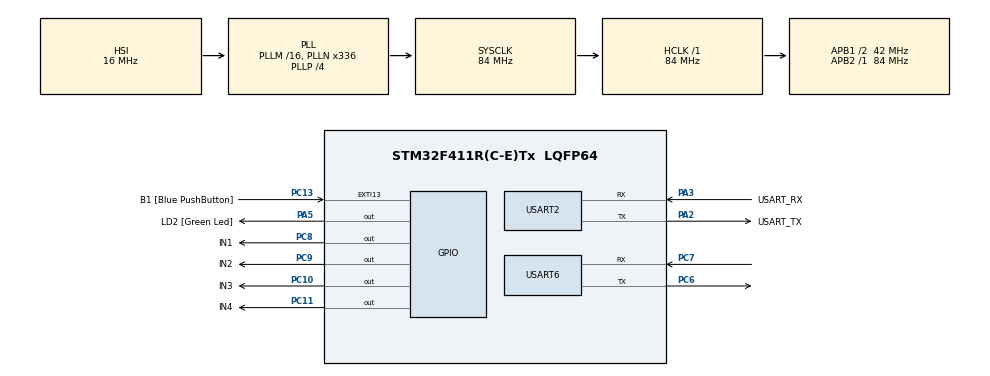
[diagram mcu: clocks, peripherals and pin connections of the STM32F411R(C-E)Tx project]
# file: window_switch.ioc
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Mcu.Family=STM32F4
Mcu.Name=STM32F411R(C-E)Tx
Mcu.Package=LQFP64
NVIC.PriorityGroup=NVIC_PRIORITYGROUP_0
NVIC.USART2_IRQn=true\:0\:0\:false\:false\:true\:true\:true\:true
NVIC.USART6_IRQn=true\:0\:0\:false\:false\:true\:true\:true\:true
PA13.GPIO_Label=TMS
PA13.Mode=Serial_Wire
PA13.Signal=SYS_JTMS-SWDIO
PA14.GPIO_Label=TCK
PA14.Mode=Serial_Wire
PA14.Signal=SYS_JTCK-SWCLK
PA2.GPIO_Label=USART_TX
PA2.Mode=Asynchronous
PA2.Signal=USART2_TX
PA3.GPIO_Label=USART_RX
PA3.Mode=Asynchronous
PA3.Signal=USART2_RX
PA5.GPIO_Label=LD2 [Green Led]
PA5.Signal=GPIO_Output
PB3.GPIO_Label=SWO
PB3.Signal=SYS_JTDO-SWO
PC10.GPIO_Label=IN3
PC10.Signal=GPIO_Output
PC11.GPIO_Label=IN4
PC11.Signal=GPIO_Output
PC13-ANTI_TAMP.GPIO_Label=B1 [Blue PushButton]
PC13-ANTI_TAMP.GPIO_ModeDefaultEXTI=GPIO_MODE_IT_FALLING
PC13-ANTI_TAMP.Signal=GPXTI13
PC14-OSC32_IN.Mode=LSE-External-Oscillator
PC14-OSC32_IN.Signal=RCC_OSC32_IN
PC15-OSC32_OUT.Mode=LSE-External-Oscillator
PC15-OSC32_OUT.Signal=RCC_OSC32_OUT
PC6.Mode=Asynchronous
PC6.Signal=USART6_TX
PC7.Mode=Asynchronous
PC7.Signal=USART6_RX
PC8.GPIO_Label=IN1
PC8.Signal=GPIO_Output
PC9.GPIO_Label=IN2
PC9.Signal=GPIO_Output
PH0\ -\ OSC_IN.Mode=HSE-External-Clock-Source
PH0\ -\ OSC_IN.Signal=RCC_OSC_IN
PH1\ -\ OSC_OUT.Mode=HSE-External-Clock-Source
PH1\ -\ OSC_OUT.Signal=RCC_OSC_OUT
ProjectManager.HeapSize=0x200
ProjectManager.StackSize=0x400
ProjectManager.TargetToolchain=STM32CubeIDE
RCC.48MHZClocksFreq_Value=84000000
RCC.AHBFreq_Value=84000000
RCC.APB1CLKDivider=RCC_HCLK_DIV2
RCC.APB1Freq_Value=42000000
RCC.APB1TimFreq_Value=84000000
RCC.APB2Freq_Value=84000000
RCC.APB2TimFreq_Value=84000000
RCC.CortexFreq_Value=84000000
RCC.FLatency-AdvancedSettings=FLASH_LATENCY_2
RCC.HCLKFreq_Value=84000000
RCC.HSE_VALUE=8000000
RCC.HSI_VALUE=16000000
RCC.PLLN=336
RCC.PLLP=RCC_PLLP_DIV4
RCC.SYSCLKFreq_VALUE=84000000
RCC.SYSCLKSource=RCC_SYSCLKSOURCE_PLLCLK
RCC.VCOOutputFreq_Value=336000000
TIM1.Period=0xffff
TIM1.Prescaler=180-1
USART2.VirtualMode=VM_ASYNC
USART6.VirtualMode=VM_ASYNC
VP_TIM1_VS_ClockSourceINT.Mode=Internal
board=NUCLEO-F411RE

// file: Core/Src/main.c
/* USART2 usb to serial debug      PA2  USART6 TX , PA3 USART6 RX */
/* USART6 bluetooth & wifi Seiral  PB10 USART2_TX , PB11 USART2 TX */

/* USER CODE BEGIN Header */
/**
  ******************************************************************************
  * @file           : main.c
  * @brief          : Main program body
  ******************************************************************************
  * @attention
  *
  * Copyright (c) 2024 STMicroelectronics.
  * All rights reserved.
  *
  * This software is licensed under terms that can be found in the LICENSE file
  * in the root directory of this software component.
  * If no LICENSE file comes with this software, it is provided AS-IS.
  *
  ******************************************************************************
  */
/* USER CODE END Header */
#include "main.h"

/* USER CODE BEGIN Includes */
#include <stdio.h>
#include <string.h>
/* USER CODE END Includes */

/* USER CODE BEGIN PD */
#ifdef __GNUC__
/* With GCC, small printf (option LD Linker->Libraries->Small printf
   set to 'Yes') calls __io_putchar() */
#define PUTCHAR_PROTOTYPE int __io_putchar(int ch)
#else
#define PUTCHAR_PROTOTYPE int fputc(int ch, FILE *f)
#endif /* __GNUC__ */
#define ARR_CNT 5
#define CMD_SIZE 50
/* USER CODE END PD */

TIM_HandleTypeDef htim1;
UART_HandleTypeDef huart2;
UART_HandleTypeDef huart6;

/* USER CODE BEGIN PV */
uint8_t rx2char;
volatile unsigned char rx2Flag = 0;
volatile char rx2Data[50];
volatile unsigned char btFlag = 0;
uint8_t btchar;
char btData[50];
void bluetooth_Event();
/* USER CODE END PV */

void SystemClock_Config(void);
static void MX_GPIO_Init(void);
static void MX_USART2_UART_Init(void);
static void MX_USART6_UART_Init(void);
static void MX_TIM1_Init(void);

/* USER CODE BEGIN 0 */

void delay (uint16_t us)
{
	__HAL_TIM_SET_COUNTER(&htim1, 0);
	while (__HAL_TIM_GET_COUNTER(&htim1) < us);
}

#define stepsperrev 4096

void stepper_set_rpm (int rpm)  // Set rpm--> max 13, min 1,,,  went to 14 rev/min
{
	delay(60000000/stepsperrev/rpm);
}

void stepper_full_drive(int step)
{
	switch (step){
		case 0:
			HAL_GPIO_WritePin(GPIOC, IN1_Pin, GPIO_PIN_SET);   // IN1
			HAL_GPIO_WritePin(GPIOC, IN2_Pin, GPIO_PIN_SET);   // IN2
			HAL_GPIO_WritePin(GPIOC, IN3_Pin, GPIO_PIN_RESET);   // IN3
			HAL_GPIO_WritePin(GPIOC, IN4_Pin, GPIO_PIN_RESET);   // IN4
			break;

		case 1:
			HAL_GPIO_WritePin(GPIOC, IN1_Pin, GPIO_PIN_RESET);   // IN1
			HAL_GPIO_WritePin(GPIOC, IN2_Pin, GPIO_PIN_SET);   // IN2
			HAL_GPIO_WritePin(GPIOC, IN3_Pin, GPIO_PIN_SET);   // IN3
			HAL_GPIO_WritePin(GPIOC, IN4_Pin, GPIO_PIN_RESET);   // IN4
			break;

		case 2:
			HAL_GPIO_WritePin(GPIOC, IN1_Pin, GPIO_PIN_RESET);   // IN1
			HAL_GPIO_WritePin(GPIOC, IN2_Pin, GPIO_PIN_RESET);   // IN2
			HAL_GPIO_WritePin(GPIOC, IN3_Pin, GPIO_PIN_SET);   // IN3
			HAL_GPIO_WritePin(GPIOC, IN4_Pin, GPIO_PIN_SET);   // IN4
			break;

		case 3:
			HAL_GPIO_WritePin(GPIOC, IN1_Pin, GPIO_PIN_SET);   // IN1
			HAL_GPIO_WritePin(GPIOC, IN2_Pin, GPIO_PIN_RESET);   // IN2
			HAL_GPIO_WritePin(GPIOC, IN3_Pin, GPIO_PIN_RESET);   // IN3
			HAL_GPIO_WritePin(GPIOC, IN4_Pin, GPIO_PIN_SET);   // IN4
			break;
	}
}

void stepper_step_angle (float angle, int direction, int rpm)
{
	float anglepersequence = 0.703125;  // 360 = 512 sequences
	int numberofsequences = (int) (angle/anglepersequence);

	for (int seq=0; seq<numberofsequences; seq++)
	{
		if (direction == 0)  // for clockwise
		{
			for (int step=7; step>=0; step--)
			{
				stepper_full_drive(step);
				stepper_set_rpm(rpm);
			}
		}
		else if (direction == 1)  // for anti-clockwise
		{
			for (int step=0; step<8; step++)
			{
				stepper_full_drive(step);
				stepper_set_rpm(rpm);
			}
		}
	}
}

/* USER CODE END 0 */

int main(void)
{

  /* MCU Configuration--------------------------------------------------------*/

  /* Reset of all peripherals, Initializes the Flash interface and the Systick. */
  HAL_Init();

  /* Configure the system clock */
  SystemClock_Config();

  /* Initialize all configured peripherals */
  MX_GPIO_Init();
  MX_USART2_UART_Init();
  MX_USART6_UART_Init();
  MX_TIM1_Init();
  /* USER CODE BEGIN 2 */
  HAL_UART_Receive_IT(&huart2, &rx2char,1);
  HAL_UART_Receive_IT(&huart6, &btchar,1);
  printf("start main2()\r\n");
  HAL_TIM_Base_Start(&htim1);
  /* USER CODE END 2 */

  /* Infinite loop */
  while (1)
  {
	  if(rx2Flag)
	  {
			printf("recv2 : %s\r\n",rx2Data);
			rx2Flag =0;
	//	    HAL_UART_Transmit(&huart6, (uint8_t *)buf, strlen(buf), 0xFFFF);
	  }
	  if(btFlag)
	  {
//		printf("bt : %s\r\n",btData);
			btFlag =0;
			bluetooth_Event();
	  }
//	  HAL_GPIO_TogglePin(GPIOC, GPIO_PIN_13);
//	  HAL_Delay(500);

  }
}

void SystemClock_Config(void)
{
  RCC_OscInitTypeDef RCC_OscInitStruct = {0};
  RCC_ClkInitTypeDef RCC_ClkInitStruct = {0};

  /** Configure the main internal regulator output voltage
  */
  __HAL_RCC_PWR_CLK_ENABLE();
  __HAL_PWR_VOLTAGESCALING_CONFIG(PWR_REGULATOR_VOLTAGE_SCALE1);

  /** Initializes the RCC Oscillators according to the specified parameters
  * in the RCC_OscInitTypeDef structure.
  */
  RCC_OscInitStruct.OscillatorType = RCC_OSCILLATORTYPE_HSI;
  RCC_OscInitStruct.HSIState = RCC_HSI_ON;
  RCC_OscInitStruct.HSICalibrationValue = RCC_HSICALIBRATION_DEFAULT;
  RCC_OscInitStruct.PLL.PLLState = RCC_PLL_ON;
  RCC_OscInitStruct.PLL.PLLSource = RCC_PLLSOURCE_HSI;
  RCC_OscInitStruct.PLL.PLLM = 16;
  RCC_OscInitStruct.PLL.PLLN = 336;
  RCC_OscInitStruct.PLL.PLLP = RCC_PLLP_DIV4;
  RCC_OscInitStruct.PLL.PLLQ = 4;
  if (HAL_RCC_OscConfig(&RCC_OscInitStruct) != HAL_OK)
  {
    Error_Handler();
  }

  /** Initializes the CPU, AHB and APB buses clocks
  */
  RCC_ClkInitStruct.ClockType = RCC_CLOCKTYPE_HCLK|RCC_CLOCKTYPE_SYSCLK
                              |RCC_CLOCKTYPE_PCLK1|RCC_CLOCKTYPE_PCLK2;
  RCC_ClkInitStruct.SYSCLKSource = RCC_SYSCLKSOURCE_PLLCLK;
  RCC_ClkInitStruct.AHBCLKDivider = RCC_SYSCLK_DIV1;
  RCC_ClkInitStruct.APB1CLKDivider = RCC_HCLK_DIV2;
  RCC_ClkInitStruct.APB2CLKDivider = RCC_HCLK_DIV1;

  if (HAL_RCC_ClockConfig(&RCC_ClkInitStruct, FLASH_LATENCY_2) != HAL_OK)
  {
    Error_Handler();
  }
}

static void MX_TIM1_Init(void)
{

  TIM_ClockConfigTypeDef sClockSourceConfig = {0};
  TIM_MasterConfigTypeDef sMasterConfig = {0};

  htim1.Instance = TIM1;
  htim1.Init.Prescaler = 180-1;
  htim1.Init.CounterMode = TIM_COUNTERMODE_UP;
  htim1.Init.Period = 0xffff;
  htim1.Init.ClockDivision = TIM_CLOCKDIVISION_DIV1;
  htim1.Init.RepetitionCounter = 0;
  htim1.Init.AutoReloadPreload = TIM_AUTORELOAD_PRELOAD_DISABLE;
  if (HAL_TIM_Base_Init(&htim1) != HAL_OK)
  {
    Error_Handler();
  }
  sClockSourceConfig.ClockSource = TIM_CLOCKSOURCE_INTERNAL;
  if (HAL_TIM_ConfigClockSource(&htim1, &sClockSourceConfig) != HAL_OK)
  {
    Error_Handler();
  }
  sMasterConfig.MasterOutputTrigger = TIM_TRGO_RESET;
  sMasterConfig.MasterSlaveMode = TIM_MASTERSLAVEMODE_DISABLE;
  if (HAL_TIMEx_MasterConfigSynchronization(&htim1, &sMasterConfig) != HAL_OK)
  {
    Error_Handler();
  }

}

static void MX_USART2_UART_Init(void)
{

  huart2.Instance = USART2;
  huart2.Init.BaudRate = 115200;
  huart2.Init.WordLength = UART_WORDLENGTH_8B;
  huart2.Init.StopBits = UART_STOPBITS_1;
  huart2.Init.Parity = UART_PARITY_NONE;
  huart2.Init.Mode = UART_MODE_TX_RX;
  huart2.Init.HwFlowCtl = UART_HWCONTROL_NONE;
  huart2.Init.OverSampling = UART_OVERSAMPLING_16;
  if (HAL_UART_Init(&huart2) != HAL_OK)
  {
    Error_Handler();
  }

}

static void MX_USART6_UART_Init(void)
{

  huart6.Instance = USART6;
  huart6.Init.BaudRate = 9600;
  huart6.Init.WordLength = UART_WORDLENGTH_8B;
  huart6.Init.StopBits = UART_STOPBITS_1;
  huart6.Init.Parity = UART_PARITY_NONE;
  huart6.Init.Mode = UART_MODE_TX_RX;
  huart6.Init.HwFlowCtl = UART_HWCONTROL_NONE;
  huart6.Init.OverSampling = UART_OVERSAMPLING_16;
  if (HAL_UART_Init(&huart6) != HAL_OK)
  {
    Error_Handler();
  }

}

static void MX_GPIO_Init(void)
{
  GPIO_InitTypeDef GPIO_InitStruct = {0};

  /* GPIO Ports Clock Enable */
  __HAL_RCC_GPIOC_CLK_ENABLE();
  __HAL_RCC_GPIOH_CLK_ENABLE();
  __HAL_RCC_GPIOA_CLK_ENABLE();
  __HAL_RCC_GPIOB_CLK_ENABLE();

  /*Configure GPIO pin Output Level */
  HAL_GPIO_WritePin(LD2_GPIO_Port, LD2_Pin, GPIO_PIN_RESET);

  /*Configure GPIO pin Output Level */
  HAL_GPIO_WritePin(GPIOC, IN1_Pin|IN2_Pin|IN3_Pin|IN4_Pin, GPIO_PIN_RESET);

  /*Configure GPIO pin : B1_Pin */
  GPIO_InitStruct.Pin = B1_Pin;
  GPIO_InitStruct.Mode = GPIO_MODE_IT_FALLING;
  GPIO_InitStruct.Pull = GPIO_NOPULL;
  HAL_GPIO_Init(B1_GPIO_Port, &GPIO_InitStruct);

  /*Configure GPIO pin : LD2_Pin */
  GPIO_InitStruct.Pin = LD2_Pin;
  GPIO_InitStruct.Mode = GPIO_MODE_OUTPUT_PP;
  GPIO_InitStruct.Pull = GPIO_NOPULL;
  GPIO_InitStruct.Speed = GPIO_SPEED_FREQ_LOW;
  HAL_GPIO_Init(LD2_GPIO_Port, &GPIO_InitStruct);

  /*Configure GPIO pins : IN1_Pin IN2_Pin IN3_Pin IN4_Pin */
  GPIO_InitStruct.Pin = IN1_Pin|IN2_Pin|IN3_Pin|IN4_Pin;
  GPIO_InitStruct.Mode = GPIO_MODE_OUTPUT_PP;
  GPIO_InitStruct.Pull = GPIO_NOPULL;
  GPIO_InitStruct.Speed = GPIO_SPEED_FREQ_LOW;
  HAL_GPIO_Init(GPIOC, &GPIO_InitStruct);

}

/* USER CODE BEGIN 4 */
void MX_GPIO_LED_ON(int pin)
{
	HAL_GPIO_WritePin(LD2_GPIO_Port, pin, GPIO_PIN_SET);
}

void MX_GPIO_LED_OFF(int pin)
{
	HAL_GPIO_WritePin(LD2_GPIO_Port, pin, GPIO_PIN_RESET);
}

void MX_GPIO_MOTOR_OPEN()
{
	for(int i = 0; i < 512; i++)
	{
		for(int i = 3; 0 <= i; i--)
		{
			stepper_full_drive(i);
			stepper_set_rpm(13);
		}
	}
}

void MX_GPIO_MOTOR_CLOSE()
{
	for(int i = 0; i < 512; i++)
	{
		for(int i = 0; i < 4; i++)
		{
			stepper_full_drive(i);
			stepper_set_rpm(13);
		}
	}
}

void bluetooth_Event()
{
  int i=0;
  char * pToken;
  char * pArray[ARR_CNT]={0};
  char recvBuf[CMD_SIZE]={0};
  char sendBuf[CMD_SIZE]={0};
  strcpy(recvBuf,btData);

  printf("btData : %s\r\n",btData);

  pToken = strtok(recvBuf,"[@]");
  while(pToken != NULL)
  {
    pArray[i] =  pToken;
    if(++i >= ARR_CNT)
      break;
    pToken = strtok(NULL,"[@]");
  }
//  printf("pArray[0] : %s\r\n",pArray[0]);
//  printf("pArray[1] : %s\r\n",pArray[1]);
//  printf("pArray[2] : %s\r\n",pArray[2]);

  if(!strcmp(pArray[1],"LED"))
  {
		if(!strcmp(pArray[2],"ON"))
		{
			MX_GPIO_LED_ON(LD2_Pin);
		}
		else if(!strcmp(pArray[2],"OFF"))
		{
			MX_GPIO_LED_OFF(LD2_Pin);
		}
  }
  else if(!strcmp(pArray[1],"MOTOR"))
  {
	  if(!strcmp(pArray[2],"OPEN"))
	  {
		  MX_GPIO_MOTOR_OPEN();
	  }
	  else if(!strcmp(pArray[2],"CLOSE"))
	  {
		  MX_GPIO_MOTOR_CLOSE();
	  }
  }
  else if(!strncmp(pArray[1]," New conn",sizeof(" New conn")))
  {
      return;
  }
  else if(!strncmp(pArray[1]," Already log",sizeof(" Already log")))
  {
      return;
  }
  else
      return;

  sprintf(sendBuf,"[%s]%s@%s\n",pArray[0],pArray[1],pArray[2]);
  HAL_UART_Transmit(&huart6, (uint8_t *)sendBuf, strlen(sendBuf), 0xFFFF);

}
/**
  * @brief  Retargets the C library printf function to the USART.
  * @param  None
  * @retval None
  */
PUTCHAR_PROTOTYPE
{
  /* Place your implementation of fputc here */
  /* e.g. write a character to the USART6 and Loop until the end of transmission */
  HAL_UART_Transmit(&huart2, (uint8_t *)&ch, 1, 0xFFFF);

  return ch;
}
void HAL_UART_RxCpltCallback(UART_HandleTypeDef *huart)
{
    if(huart->Instance == USART2)
    {
    	static int i=0;
    	rx2Data[i] = rx2char;
    	if((rx2Data[i] == '\r')||(btData[i] == '\n'))
    	{
    		rx2Data[i] = '\0';
    		rx2Flag = 1;
    		i = 0;
    	}
    	else
    	{
    		i++;
    	}
    	HAL_UART_Receive_IT(&huart2, &rx2char,1);
    }
    if(huart->Instance == USART6)
    {
    	static int i=0;
    	btData[i] = btchar;
    	if((btData[i] == '\n') || btData[i] == '\r')
    	{
    		btData[i] = '\0';
    		btFlag = 1;
    		i = 0;
    	}
    	else
    	{
    		i++;
    	}
    	HAL_UART_Receive_IT(&huart6, &btchar,1);
    }
}
/* USER CODE END 4 */

void Error_Handler(void)
{
  __disable_irq();
  while (1)
  {
  }
}
